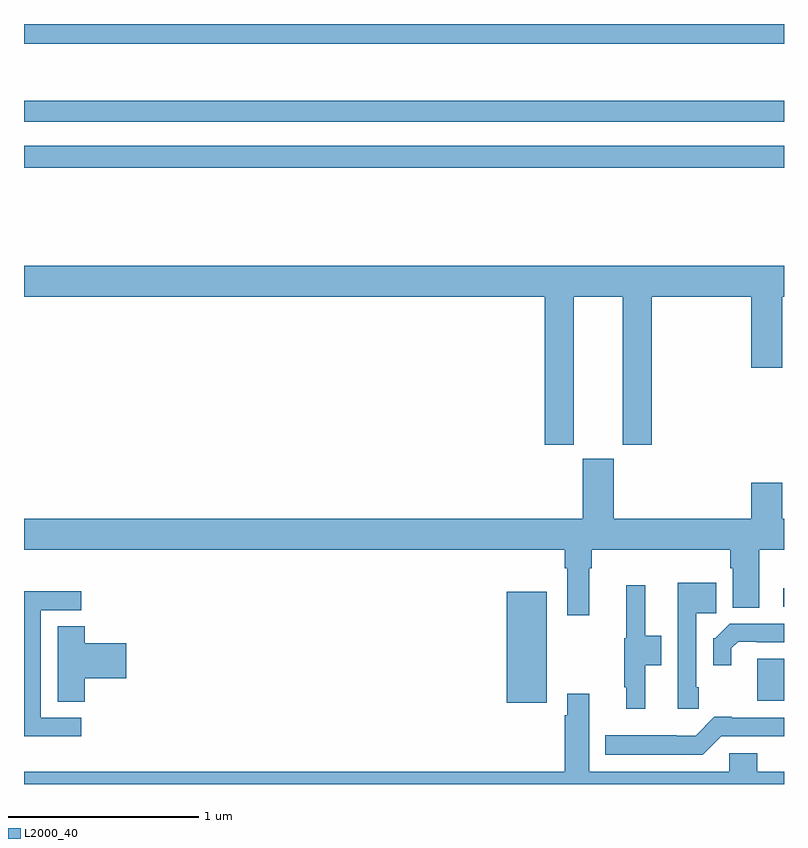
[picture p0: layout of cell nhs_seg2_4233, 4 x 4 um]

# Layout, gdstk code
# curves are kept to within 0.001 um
import gdstk
lib = gdstk.Library(unit=1e-6, precision=1e-09)
def R(c, l, rs):  # rectangles x0, y0, x1, y1
    for r in rs: c.add(gdstk.rectangle(r[:2], r[2:], *l))
def P(c, l, *ps):  # polygons
    for p in ps: c.add(gdstk.Polygon(p, *l))
L2000_40 = (2000, 40)

nhs_seg2_4233 = lib.new_cell('nhs_seg2_4233')
R(nhs_seg2_4233, L2000_40, [(343.541,584.228,343.75,584.812), (344.858,584.237,345,584.458), (344.997,584.733,345,584.831), (341,587.044,345,587.16), (341,587.286,345,587.395), (341,587.696,345,587.8)])
P(nhs_seg2_4233, L2000_40, [(343.894,586.364),(344.15,586.364),(344.15,585.585),(344.303,585.585),(344.303,586.364),(344.828,586.364),(344.828,585.99),(344.992,585.99),(344.992,586.364),(345,586.364),(345,586.528),(341,586.528),(341,586.364),(343.742,586.364),(343.742,585.585),(343.894,585.585)],
  [(343.975,584.936),(343.988,584.936),(343.988,585.032),(344.717,585.032),(344.717,584.936),(344.729,584.936),(344.729,584.728),(344.869,584.728),(344.869,585.032),(345,585.032),(345,585.196),(344.992,585.196),(344.992,585.385),(344.828,585.385),(344.828,585.196),(344.104,585.196),(344.104,585.513),(343.94,585.513),(343.94,585.196),(341,585.196),(341,585.032),(343.847,585.032),(343.847,584.936),(343.859,584.936),(343.859,584.688),(343.975,584.688)],
  [(344.551,584.308),(344.538,584.308),(344.538,584.7),(344.644,584.7),(344.644,584.86),(344.442,584.86),(344.442,584.196),(344.551,584.196)],
  [(344.269,584.425),(344.353,584.425),(344.353,584.58),(344.269,584.58),(344.269,584.845),(344.171,584.845),(344.171,584.568),(344.16,584.568),(344.16,584.308),(344.171,584.308),(344.171,584.196),(344.269,584.196)],
  [(341.302,584.148),(341.088,584.148),(341.088,584.715),(341.302,584.715),(341.302,584.814),(341,584.814),(341,584.052),(341.302,584.052)],
  [(344.723,584.514),(344.758,584.55),(344.857,584.55),(344.857,584.547),(345,584.547),(345,584.643),(344.714,584.643),(344.639,584.568),(344.628,584.568),(344.628,584.424),(344.723,584.424)],
  [(341.321,584.357),(341.539,584.357),(341.539,584.54),(341.321,584.54),(341.321,584.63),(341.177,584.63),(341.177,584.233),(341.321,584.233)],
  [(345,583.864),(344.859,583.864),(344.859,583.962),(344.712,583.962),(344.712,583.864),(343.975,583.864),(343.975,584.275),(343.859,584.275),(343.859,584.162),(343.847,584.162),(343.847,583.864),(341,583.864),(341,583.8),(345,583.8)],
  [(344.67,584.052),(345,584.051),(345,584.148),(344.725,584.148),(344.725,584.153),(344.633,584.153),(344.535,584.055),(344.06,584.056),(344.06,583.955),(344.573,583.955)])

lib.write_gds('nhs_seg2_4233.gds')
